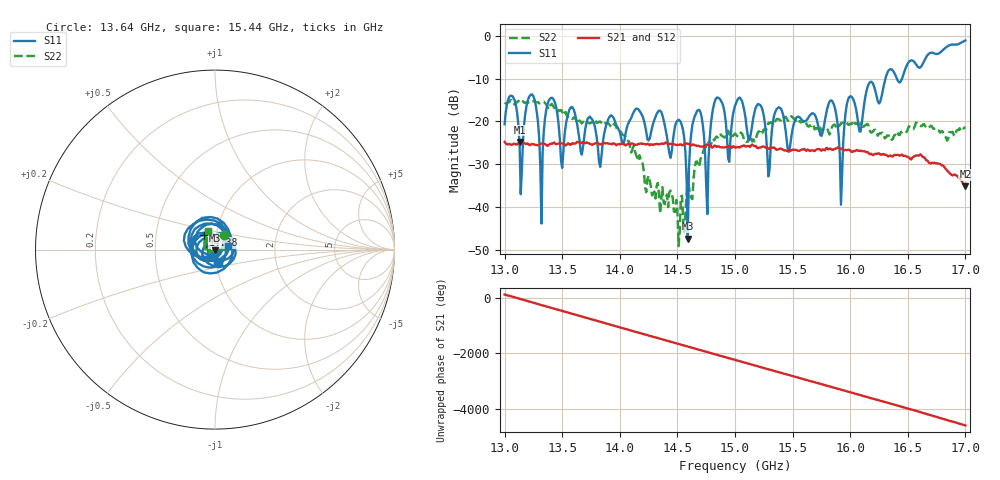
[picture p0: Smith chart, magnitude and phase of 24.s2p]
!Keysight Technologies,P9374A,MY57211807,A.19.30.04
!Date: Friday, May 01, 2026 14:49:08
!Correction: S11(C  2-Port  )
!S21(C  2-Port  )
!S12(C  2-Port  )
!S22(C  2-Port  )
!S2P File: Measurements: S11, S21, S12, S22:
# Hz S  RI  R 50
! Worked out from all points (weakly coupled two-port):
!   401 points, 13 GHz to 17 GHz, reference 50 ohm
!   highest |S21| = -24.78 dB at 13.13 GHz (marker M1); lowest = -35.2 dB at 17 GHz (marker M2)
!   lowest |S11| = -47.4 dB at 14.59 GHz (marker M3), VSWR 1.01, Z = 49.8 - j0.399 ohm
!   |S11| at or under -10 dB: start of sweep to 16.31 GHz; 16.40527 GHz to 16.45002 GHz (44.75 MHz wide, 0.272 % of centre)
!   |S22| runs from -49.2 to -14.9 dB; largest |S21 - S12| = 0.0014
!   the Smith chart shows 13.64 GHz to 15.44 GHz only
!   S11 on the Smith chart (normalised r, x): 13.64 GHz: 1.03, -0.15; 14.38 GHz: 0.87, +0.15; 15.44 GHz: 1.16, +0.05
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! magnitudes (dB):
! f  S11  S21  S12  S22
! 13 GHz  -20.7  -24.8  -24.8  -15.6
! 13.13 GHz  -25.5  -24.8  -24.7  -14.9
! 13.23 GHz  -13.7  -25.4  -25.3  -15.1
! 13.32 GHz  -43.9  -25.2  -25.1  -15.5
! 13.4 GHz  -14.5  -25.2  -25.2  -16.1
! 13.64 GHz  -22.5  -24.8  -24.8  -20.5
! 13.67 GHz  -27.7  -24.9  -24.9  -20.5
! 14.34 GHz  -17.5  -25.3  -25.3  -36.9
! 14.38 GHz  -19.6  -25.3  -25.3  -38.9
! 14.59 GHz  -47.4  -25.2  -25.2  -34.4
! 14.67 GHz  -17.5  -25.8  -25.7  -29.3
! 14.76 GHz  -41.7  -25.4  -25.4  -25.8
! 14.83 GHz  -14.9  -25.7  -25.7  -23.9
! 14.95 GHz  -29.4  -25.7  -25.7  -23.0
! 15 GHz  -16.4  -26.1  -26.1  -22.8
! 15.44 GHz  -22.3  -26.8  -26.8  -18.9
! 15.67 GHz  -18.1  -26.7  -26.7  -20.7
! 15.85 GHz  -15.5  -26.7  -26.6  -21.0
! 15.92 GHz  -39.4  -26.3  -26.3  -20.4
! 15.99 GHz  -14.3  -26.6  -26.6  -20.8
! 16.34 GHz  -7.9  -28.0  -28.0  -23.4
! 17 GHz  -1.1  -35.2  -35.2  -21.5
